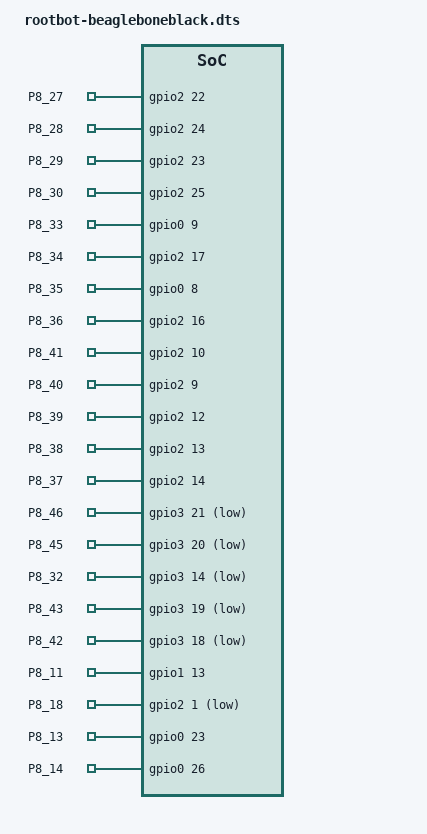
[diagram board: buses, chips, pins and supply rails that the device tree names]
/dts-v1/;
/plugin/;

/ {
    compatible = "ti,beaglebone", "ti,beaglebone-black";
    part-number = "am335x-boneblack-st7565";
    version = "00A0";

    /* state the resources this cape uses */
        exclusive-use =
                /* the pin header uses */
                "P8.11", /* doc */
                "P8.18", 
                "P8.13", 
                "P8.14", 
                "P8.41", 
                "P8.40", 
                "P8.39", 
                "P8.38", 
                "P8.37", 
                "P8.27", 
                "P8.28", 
                "P8.29", 
                "P8.30", 
                "P8.33", 
                "P8.34", 
                "P8.35", 
                "P8.36",
                /* the hardware ip uses */
                "uart1";

    /* Overlay Information */
    fragment@0 {
        target = <&am33xx_pinmux>;
        __overlay__ {
            /* LRB Control Pins */
            lrb_control_pins: pinmux_lrb_control_pins {
                pinctrl-single,pins = <
                    0x034 0x07  /* P8_11 (gpio1_13), MODE7 | OUTPUT */
                    0x048 0x07  /* P8_18 (gpio2_1), MODE7 | OUTPUT */
                    0x05C 0x07  /* P8_13 (gpio0_23), MODE7 | OUTPUT */
                    0x060 0x07  /* P8_14 (gpio0_26), MODE7 | OUTPUT */
                    0x0A8 0x07  /* P8_41 (gpio2_10), MODE7 | OUTPUT */
                    0x0A4 0x07  /* P8_40 (gpio2_9), MODE7 | OUTPUT */
                    0x0A0 0x07  /* P8_39 (gpio2_12), MODE7 | OUTPUT */
                    0x09C 0x07  /* P8_38 (gpio2_13), MODE7 | OUTPUT */
                    0x098 0x07  /* P8_37 (gpio2_14), MODE7 | OUTPUT */
                    0x084 0x07  /* P8_27 (gpio2_22), MODE7 | OUTPUT */
                    0x088 0x07  /* P8_28 (gpio2_24), MODE7 | OUTPUT */
                    0x08C 0x07  /* P8_29 (gpio2_23), MODE7 | OUTPUT */
                    0x080 0x07  /* P8_30 (gpio2_25), MODE7 | OUTPUT */
                    0x1A4 0x07  /* P8_33 (gpio0_9), MODE7 | OUTPUT */
                    0x1A8 0x07  /* P8_34 (gpio2_17), MODE7 | OUTPUT */
                    0x1AC 0x07  /* P8_35 (gpio0_8), MODE7 | OUTPUT */
                    0x1B0 0x07  /* P8_36 (gpio2_16), MODE7 | OUTPUT */
                >;
            };
        };
    };

    fragment@1 {
        target = <&ocp>;
        __overlay__ {
            /* GPIO Configuration */
            gpio_keys {
                compatible = "gpio-keys";
                pinctrl-names = "default";
                pinctrl-0 = <&lcd_control_pins>;

                /* Output GPIOs */
                gpio@0 {
                    gpios = <&gpio2 22 0>; /* P8_27 */
                    label = "P8_27";
                };

                gpio@1 {
                    gpios = <&gpio2 24 0>; /* P8_28 */
                    label = "P8_28";
                };

                gpio@2 {
                    gpios = <&gpio2 23 0>; /* P8_29 */
                    label = "P8_29";
                };

                gpio@3 {
                    gpios = <&gpio2 25 0>; /* P8_30 */
                    label = "P8_30";
                };

                gpio@4 {
                    gpios = <&gpio0 9 0>;  /* P8_33 */
                    label = "P8_33";
                };

                gpio@5 {
                    gpios = <&gpio2 17 0>; /* P8_34 */
                    label = "P8_34";
                };

                gpio@6 {
                    gpios = <&gpio0 8 0>;  /* P8_35 */
                    label = "P8_35";
                };

                gpio@7 {
                    gpios = <&gpio2 16 0>; /* P8_36 */
                    label = "P8_36";
                };

                gpio@8 {
                    gpios = <&gpio2 10 0>; /* P8_41 */
                    label = "P8_41";
                };

                gpio@9 {
                    gpios = <&gpio2 9 0>;  /* P8_40 */
                    label = "P8_40";
                };

                gpio@10 {
                    gpios = <&gpio2 12 0>; /* P8_39 */
                    label = "P8_39";
                };

                gpio@11 {
                    gpios = <&gpio2 13 0>; /* P8_38 */
                    label = "P8_38";
                };

                gpio@12 {
                    gpios = <&gpio2 14 0>; /* P8_37 */
                    label = "P8_37";
                };


                /* Input GPIOs */
                gpio@13 {
                    gpios = <&gpio3 21 1>; /* P8_46 */
                    label = "P8_46";
                };

                gpio@14 {
                    gpios = <&gpio3 20 1>; /* P8_45 */
                    label = "P8_45";
                };

                gpio@15 {
                    gpios = <&gpio3 14 1>; /* P8_32 */
                    label = "P8_32";
                };

                gpio@16 {
                    gpios = <&gpio3 19 1>; /* P8_43 */
                    label = "P8_43";
                };

                gpio@17 {
                    gpios = <&gpio3 18 1>; /* P8_42 */
                    label = "P8_42";
                };


                /* more gpio for lcd */
                gpio@18 {
                    gpios = <&gpio1 13 0>; /* P8_11 */
                    label = "P8_11";
                };
                
                gpio@19 {
                    gpios = <&gpio2 1 1>; /* P8_18 */
                    label = "P8_18";
                };
                
                gpio@20 {
                    gpios = <&gpio0 23 0>; /* P8_13 */
                    label = "P8_13";
                };
                
                gpio@21 {
                    gpios = <&gpio0 26 0>; /* P8_14 */
                    label = "P8_14";
                };
            };
        };
    };

    fragment@2 {
        target = <&spi1_pins>;
        __overlay__ {
            pinctrl-single,pins = <
                0x190 0x30  /* P8_15 spi1_sclk, MODE0 | OUTPUT_PULLUP */
                0x194 0x30  /* P8_16 spi1_d0, MODE0 | OUTPUT_PULLUP */
            >;
        };
    };
};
